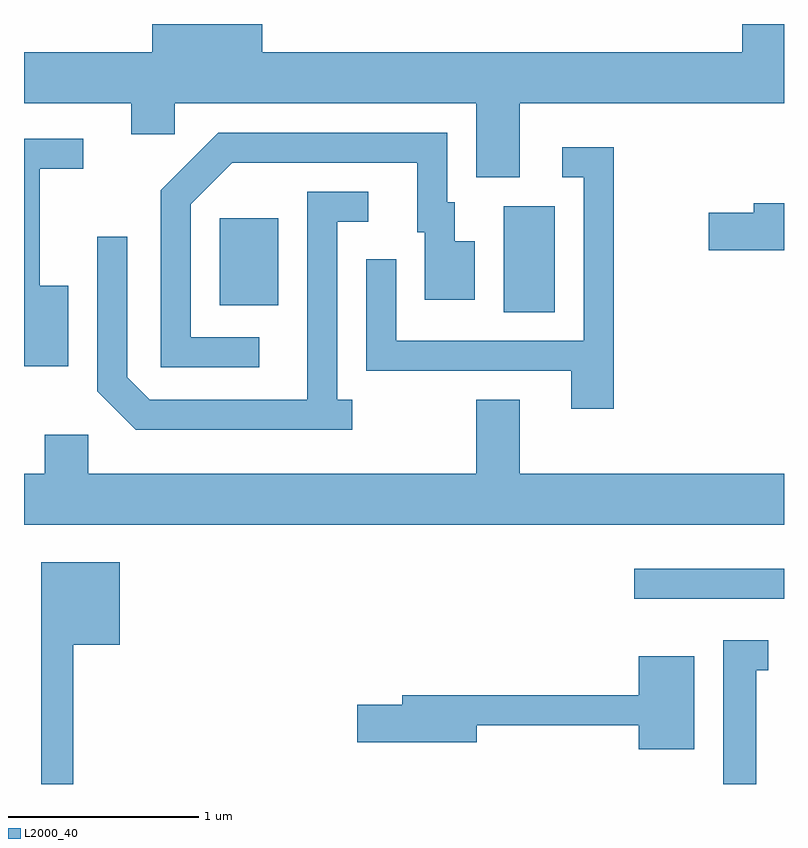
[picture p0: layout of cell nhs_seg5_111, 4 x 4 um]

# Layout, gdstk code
import gdstk
lib = gdstk.Library(unit=1e-6, precision=1e-09)
def R(c, l, rs):  # rectangles x0, y0, x1, y1
    for r in rs: c.add(gdstk.rectangle(r[:2], r[2:], *l))
def P(c, l, *ps):  # polygons
    for p in ps: c.add(gdstk.Polygon(p, *l))
L2000_40 = (2000, 40)

nhs_seg5_111 = lib.new_cell('nhs_seg5_111')
R(nhs_seg5_111, L2000_40, [(190.823,1483.046,191.611,1483.204), (190.136,1484.556,190.404,1485.114), (188.641,1484.591,188.949,1485.049)])
P(nhs_seg5_111, L2000_40, [(190.219,1485.656),(191.611,1485.656),(191.611,1486.072),(191.391,1486.072),(191.391,1485.924),(188.864,1485.924),(188.864,1486.072),(188.286,1486.072),(188.286,1485.924),(187.611,1485.924),(187.611,1485.656),(188.176,1485.656),(188.176,1485.491),(188.404,1485.491),(188.404,1485.656),(189.991,1485.656),(189.991,1485.266),(190.219,1485.266)],
  [(188.848,1484.424),(188.489,1484.424),(188.489,1485.124),(188.707,1485.341),(189.681,1485.341),(189.681,1484.976),(189.721,1484.976),(189.721,1484.621),(189.984,1484.621),(189.984,1484.929),(189.879,1484.929),(189.879,1485.134),(189.839,1485.134),(189.839,1485.499),(188.634,1485.499),(188.331,1485.197),(188.331,1484.266),(188.848,1484.266)],
  [(187.844,1484.694),(187.694,1484.694),(187.694,1485.311),(187.923,1485.311),(187.923,1485.469),(187.611,1485.469),(187.611,1484.271),(187.844,1484.271)],
  [(190.714,1485.424),(190.443,1485.424),(190.443,1485.266),(190.556,1485.266),(190.556,1484.404),(189.569,1484.404),(189.569,1484.833),(189.411,1484.833),(189.411,1484.246),(190.491,1484.246),(190.491,1484.046),(190.714,1484.046)],
  [(189.338,1484.094),(189.259,1484.094),(189.259,1485.031),(189.423,1485.031),(189.423,1485.189),(189.101,1485.189),(189.101,1484.094),(188.272,1484.094),(188.154,1484.212),(188.154,1484.953),(187.996,1484.953),(187.996,1484.139),(188.199,1483.936),(189.338,1483.936)],
  [(191.611,1485.129),(191.451,1485.129),(191.451,1485.079),(191.216,1485.079),(191.216,1484.881),(191.611,1484.881)],
  [(191.611,1483.704),(190.219,1483.704),(190.219,1484.094),(189.991,1484.094),(189.991,1483.704),(187.949,1483.704),(187.949,1483.909),(187.721,1483.909),(187.721,1483.704),(187.611,1483.704),(187.611,1483.436),(191.611,1483.436)],
  [(187.869,1482.806),(188.114,1482.806),(188.114,1483.239),(187.701,1483.239),(187.701,1482.072),(187.869,1482.072)],
  [(191.464,1482.671),(191.528,1482.671),(191.528,1482.829),(191.291,1482.829),(191.291,1482.072),(191.464,1482.072)],
  [(191.139,1482.744),(190.846,1482.744),(190.846,1482.539),(189.601,1482.539),(189.601,1482.489),(189.366,1482.489),(189.366,1482.291),(189.994,1482.291),(189.994,1482.381),(190.846,1482.381),(190.846,1482.256),(191.139,1482.256)])

lib.write_gds('nhs_seg5_111.gds')
